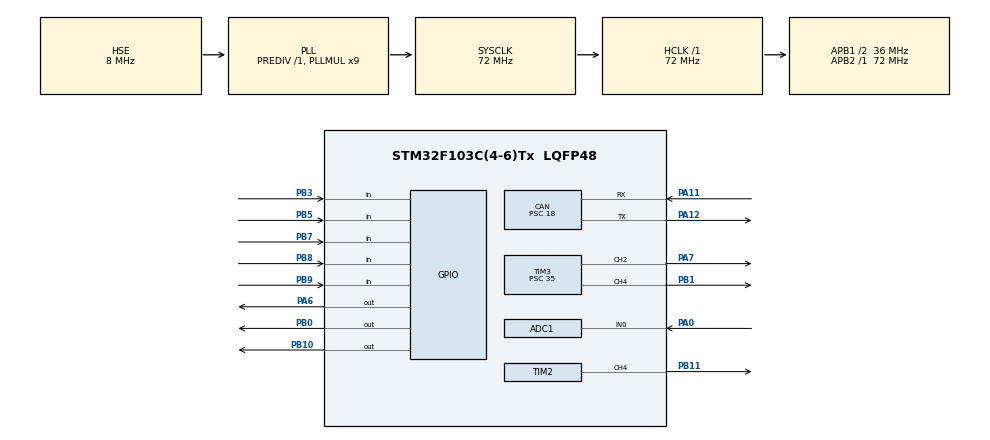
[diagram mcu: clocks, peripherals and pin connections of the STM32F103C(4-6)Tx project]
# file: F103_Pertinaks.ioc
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ADC1.Channel-1\#ChannelRegularConversion=ADC_CHANNEL_0
ADC1.ContinuousConvMode=ENABLE
ADC1.NbrOfConversionFlag=1
ADC1.Rank-1\#ChannelRegularConversion=1
ADC1.SamplingTime-1\#ChannelRegularConversion=ADC_SAMPLETIME_1CYCLE_5
ADC1.master=1
CAN.BS1=CAN_BS1_2TQ
CAN.CalculateBaudRate=500000
CAN.CalculateTimeBit=2000
CAN.CalculateTimeQuantum=500.0
CAN.Mode=CAN_MODE_LOOPBACK
CAN.Prescaler=18
Mcu.Family=STM32F1
Mcu.Name=STM32F103C(4-6)Tx
Mcu.Package=LQFP48
NVIC.PriorityGroup=NVIC_PRIORITYGROUP_4
NVIC.TIM1_UP_IRQn=true\:0\:0\:false\:false\:true\:true\:true\:true
PA0-WKUP.Signal=ADCx_IN0
PA11.Mode=CAN_Activate
PA11.Signal=CAN_RX
PA12.Mode=CAN_Activate
PA12.Signal=CAN_TX
PA13.Mode=Serial_Wire
PA13.Signal=SYS_JTMS-SWDIO
PA14.Mode=Serial_Wire
PA14.Signal=SYS_JTCK-SWCLK
PA6.Signal=GPIO_Output
PA7.Signal=S_TIM3_CH2
PB0.Signal=GPIO_Output
PB1.Signal=S_TIM3_CH4
PB10.Signal=GPIO_Output
PB11.Signal=S_TIM2_CH4
PB3.GPIO_PuPd=GPIO_PULLDOWN
PB3.Signal=GPIO_Input
PB5.GPIO_PuPd=GPIO_NOPULL
PB5.Signal=GPIO_Input
PB7.Signal=GPIO_Input
PB8.Signal=GPIO_Input
PB9.Signal=GPIO_Input
PD0-OSC_IN.Mode=HSE-External-Oscillator
PD0-OSC_IN.Signal=RCC_OSC_IN
PD1-OSC_OUT.Mode=HSE-External-Oscillator
PD1-OSC_OUT.Signal=RCC_OSC_OUT
ProjectManager.HeapSize=0x200
ProjectManager.StackSize=0x400
ProjectManager.TargetToolchain=STM32CubeIDE
RCC.ADCPresc=RCC_ADCPCLK2_DIV6
RCC.AHBFreq_Value=72000000
RCC.APB1CLKDivider=RCC_HCLK_DIV2
RCC.APB1Freq_Value=36000000
RCC.APB1TimFreq_Value=72000000
RCC.APB2Freq_Value=72000000
RCC.APB2TimFreq_Value=72000000
RCC.HCLKFreq_Value=72000000
RCC.PLLMUL=RCC_PLL_MUL9
RCC.PLLSourceVirtual=RCC_PLLSOURCE_HSE
RCC.SYSCLKFreq_VALUE=72000000
RCC.SYSCLKSource=RCC_SYSCLKSOURCE_PLLCLK
RCC.USBFreq_Value=72000000
SH.ADCx_IN0.0=ADC1_IN0,IN0
SH.S_TIM2_CH4.0=TIM2_CH4,PWM Generation4 CH4
SH.S_TIM3_CH2.0=TIM3_CH2,PWM Generation2 CH2
SH.S_TIM3_CH4.0=TIM3_CH4,PWM Generation4 CH4
TIM1.Period=7999
TIM1.Prescaler=8999
TIM1.TIM_MasterOutputTrigger=TIM_TRGO_UPDATE
TIM2.Channel-PWM\ Generation4\ CH4=TIM_CHANNEL_4
TIM2.Period=99
TIM2.Prescaler=35
TIM3.Channel-PWM\ Generation2\ CH2=TIM_CHANNEL_2
TIM3.Channel-PWM\ Generation4\ CH4=TIM_CHANNEL_4
TIM3.Period=99
TIM3.Prescaler=35
VP_TIM1_VS_ClockSourceINT.Mode=Internal
VP_TIM2_VS_ClockSourceINT.Mode=Internal
VP_TIM3_VS_ClockSourceINT.Mode=Internal
board=custom

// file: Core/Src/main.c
/* USER CODE BEGIN Header */
/**
 ******************************************************************************
 * @file           : main.c
 * @brief          : Main program body
 ******************************************************************************
 * @attention
 *
 * Copyright (c) 2022 STMicroelectronics.
 * All rights reserved.
 *
 * This software is licensed under terms that can be found in the LICENSE file
 * in the root directory of this software component.
 * If no LICENSE file comes with this software, it is provided AS-IS.
 *
 ******************************************************************************
 */
/* USER CODE END Header */
#include "main.h"

/* USER CODE BEGIN PTD */
typedef struct {

	GPIO_TypeDef *LS_Pin;

	uint16_t LSP_Number;

	TIM_HandleTypeDef HS_Tim;

	uint16_t HST_Channel;

} Mosfet_Driver_Typedef;

typedef struct {

	GPIO_TypeDef *H_Pin;

	uint16_t HP_Number;

} Hall_Sensor_Typedef;
/* USER CODE END PTD */

/* USER CODE BEGIN PD */
#define Motor_Speed  	Current_rpm
/* USER CODE END PD */

ADC_HandleTypeDef hadc1;

CAN_HandleTypeDef hcan;

TIM_HandleTypeDef htim1;
TIM_HandleTypeDef htim2;
TIM_HandleTypeDef htim3;

/* USER CODE BEGIN PV */

CAN_TxHeaderTypeDef Com_TxHeader;
CAN_RxHeaderTypeDef Com_RxHeader;

uint32_t My_TxMailbox;

uint8_t Com_TxData[2];
uint8_t Com_RxData[2];

uint8_t HA_Res = 0;
uint8_t HB_Res = 0;
uint8_t HC_Res = 0;
uint8_t HT_Res = 0;

uint16_t Motor_Speed = 0 ;
uint16_t Rott_Count = 0 ;
uint8_t  User_Speed = 0;
uint8_t  Prvs_Hal = 0;

uint8_t Is_reverse = 0;
uint8_t Is_break = 0;

/* USER CODE END PV */

void SystemClock_Config(void);
static void MX_GPIO_Init(void);
static void MX_TIM2_Init(void);
static void MX_TIM3_Init(void);
static void MX_CAN_Init(void);
static void MX_TIM1_Init(void);
static void MX_ADC1_Init(void);
/* USER CODE BEGIN PFP */

void Motor_Driver(Mosfet_Driver_Typedef MD_one, Mosfet_Driver_Typedef MD_two,
		Mosfet_Driver_Typedef MD_three, uint8_t Hall_T, uint8_t User_speed);

void HAL_CAN_RxFifo0MsgPendingCallback(CAN_HandleTypeDef *hcan);

void HAL_TIM_PeriodElapsedCallback(TIM_HandleTypeDef *htim)
{
	if (htim->Instance == htim1.Instance ){
		Motor_Speed = (int) Rott_Count*60/24;

		Rott_Count = 0;
	}
}

/* USER CODE END PFP */

int main(void)
{

  /* MCU Configuration--------------------------------------------------------*/

  /* Reset of all peripherals, Initializes the Flash interface and the Systick. */
  HAL_Init();

  /* Configure the system clock */
  SystemClock_Config();

  /* Initialize all configured peripherals */
  MX_GPIO_Init();
  MX_TIM2_Init();
  MX_TIM3_Init();
  MX_CAN_Init();
  MX_TIM1_Init();
  MX_ADC1_Init();
  /* USER CODE BEGIN 2 */

	Mosfet_Driver_Typedef MD_One;
	MD_One.LS_Pin = GPIOB;
	MD_One.LSP_Number = GPIO_PIN_10;
	MD_One.HS_Tim = htim2;
	MD_One.HST_Channel = TIM_CHANNEL_4;

	Mosfet_Driver_Typedef MD_Two;
	MD_Two.LS_Pin = GPIOB;
	MD_Two.LSP_Number = GPIO_PIN_0;
	MD_Two.HS_Tim = htim3;
	MD_Two.HST_Channel = TIM_CHANNEL_4;

	Mosfet_Driver_Typedef MD_Three;
	MD_Three.LS_Pin = GPIOA;
	MD_Three.LSP_Number = GPIO_PIN_6;
	MD_Three.HS_Tim = htim3;
	MD_Three.HST_Channel = TIM_CHANNEL_2;
	// --

	// Hall Sensor Typedef
	Hall_Sensor_Typedef Hall_A;
	Hall_A.H_Pin = GPIOB;
	Hall_A.HP_Number = GPIO_PIN_7;

	Hall_Sensor_Typedef Hall_B;
	Hall_B.H_Pin = GPIOB;
	Hall_B.HP_Number = GPIO_PIN_8;

	Hall_Sensor_Typedef Hall_C;
	Hall_C.H_Pin = GPIOB;
	Hall_C.HP_Number = GPIO_PIN_9;

	HAL_TIM_Base_Start_IT(&htim1);
	HAL_TIM_Base_Start(&htim2);
	HAL_TIM_Base_Start(&htim3);
	HAL_CAN_Start(&hcan);
	HAL_ADC_Start(&hadc1);

	// Burdakİ FIFO0 veya FIFO1 olması senin mesaj bekleme fonksiyonunda doldurduğun alanıda etkiler
	HAL_CAN_ActivateNotification(&hcan, CAN_IT_RX_FIFO0_MSG_PENDING);

	Com_TxHeader.DLC = 2;
	Com_TxHeader.IDE = CAN_ID_STD;
	Com_TxHeader.RTR = CAN_RTR_DATA;
	Com_TxHeader.StdId = 0x00011111;
	Com_TxHeader.TransmitGlobalTime = DISABLE;

  /* USER CODE END 2 */

  /* Infinite loop */
  /* USER CODE BEGIN WHILE */

	while (1){
		User_Speed = (int) HAL_ADC_GetValue(&hadc1)*100/4096;
		Is_break = HAL_GPIO_ReadPin(GPIOB, GPIO_PIN_3);
		// Is_reverse = HAL_GPIO_ReadPin(GPIOB, GPIO_PIN_3);

		/* HAL SENSÖR OKUMASI*/
		HA_Res = HAL_GPIO_ReadPin(Hall_A.H_Pin, Hall_A.HP_Number);
		HB_Res = HAL_GPIO_ReadPin(Hall_B.H_Pin, Hall_B.HP_Number);
		HC_Res = HAL_GPIO_ReadPin(Hall_C.H_Pin, Hall_C.HP_Number);

		HB_Res = HB_Res << 1;
		HC_Res = HC_Res << 2;
		HT_Res = HC_Res | HB_Res | HA_Res;

		/* MOToR HIZ SAYACI */
		if (Prvs_Hal != HT_Res) {
			if ((Prvs_Hal + HT_Res) == 10) {
				Rott_Count++ ;
			}
			Prvs_Hal = HT_Res;
		}
		/* AYARLARSA HIZ AYARLAYICI
		if (!(Control_speed == User_Speed)) {
			Control_speed = Speed_Controller(User_Speed, Current_rpm, Prvs_Rpm, Delta_Speed, Control_speed, Ignition);
		}
	`	*/

		/* SÜRERSE GENEL SÜRÜCÜ */

		if (Is_break) { // Break If
			HAL_TIM_PWM_Stop(&MD_One.HS_Tim, MD_One.HST_Channel);
			HAL_TIM_PWM_Stop(&MD_Two.HS_Tim, MD_Two.HST_Channel);
			HAL_TIM_PWM_Stop(&MD_Three.HS_Tim, MD_Three.HST_Channel);

			HAL_GPIO_WritePin(MD_One.LS_Pin, MD_One.LSP_Number, GPIO_PIN_RESET);
			HAL_GPIO_WritePin(MD_Two.LS_Pin, MD_Two.LSP_Number, GPIO_PIN_RESET);
			HAL_GPIO_WritePin(MD_Three.LS_Pin, MD_Three.LSP_Number, GPIO_PIN_RESET);

		}
		else {
			if (Is_reverse) { // Reverse If
				HT_Res = 7 - HT_Res ;
				Motor_Driver(MD_One, MD_Two, MD_Three, HT_Res, User_Speed);
			}
			else {
				Motor_Driver(MD_One, MD_Two, MD_Three, HT_Res, User_Speed);
			}
		}

		/* CAN CONMMINICATION AREA - GİRENİ S*KERLER */

		Com_TxData[0] = Motor_Speed ;
		Com_TxData[1] = User_Speed ;

		HAL_CAN_AddTxMessage(&hcan, &Com_TxHeader, Com_TxData, &My_TxMailbox);

    /* USER CODE END WHILE */

	}
}

void SystemClock_Config(void)
{
  RCC_OscInitTypeDef RCC_OscInitStruct = {0};
  RCC_ClkInitTypeDef RCC_ClkInitStruct = {0};
  RCC_PeriphCLKInitTypeDef PeriphClkInit = {0};

  /** Initializes the RCC Oscillators according to the specified parameters
  * in the RCC_OscInitTypeDef structure.
  */
  RCC_OscInitStruct.OscillatorType = RCC_OSCILLATORTYPE_HSE;
  RCC_OscInitStruct.HSEState = RCC_HSE_ON;
  RCC_OscInitStruct.HSEPredivValue = RCC_HSE_PREDIV_DIV1;
  RCC_OscInitStruct.HSIState = RCC_HSI_ON;
  RCC_OscInitStruct.PLL.PLLState = RCC_PLL_ON;
  RCC_OscInitStruct.PLL.PLLSource = RCC_PLLSOURCE_HSE;
  RCC_OscInitStruct.PLL.PLLMUL = RCC_PLL_MUL9;
  if (HAL_RCC_OscConfig(&RCC_OscInitStruct) != HAL_OK)
  {
    Error_Handler();
  }

  /** Initializes the CPU, AHB and APB buses clocks
  */
  RCC_ClkInitStruct.ClockType = RCC_CLOCKTYPE_HCLK|RCC_CLOCKTYPE_SYSCLK
                              |RCC_CLOCKTYPE_PCLK1|RCC_CLOCKTYPE_PCLK2;
  RCC_ClkInitStruct.SYSCLKSource = RCC_SYSCLKSOURCE_PLLCLK;
  RCC_ClkInitStruct.AHBCLKDivider = RCC_SYSCLK_DIV1;
  RCC_ClkInitStruct.APB1CLKDivider = RCC_HCLK_DIV2;
  RCC_ClkInitStruct.APB2CLKDivider = RCC_HCLK_DIV1;

  if (HAL_RCC_ClockConfig(&RCC_ClkInitStruct, FLASH_LATENCY_2) != HAL_OK)
  {
    Error_Handler();
  }
  PeriphClkInit.PeriphClockSelection = RCC_PERIPHCLK_ADC;
  PeriphClkInit.AdcClockSelection = RCC_ADCPCLK2_DIV6;
  if (HAL_RCCEx_PeriphCLKConfig(&PeriphClkInit) != HAL_OK)
  {
    Error_Handler();
  }
}

static void MX_ADC1_Init(void)
{

  ADC_ChannelConfTypeDef sConfig = {0};

  /** Common config
  */
  hadc1.Instance = ADC1;
  hadc1.Init.ScanConvMode = ADC_SCAN_DISABLE;
  hadc1.Init.ContinuousConvMode = ENABLE;
  hadc1.Init.DiscontinuousConvMode = DISABLE;
  hadc1.Init.ExternalTrigConv = ADC_SOFTWARE_START;
  hadc1.Init.DataAlign = ADC_DATAALIGN_RIGHT;
  hadc1.Init.NbrOfConversion = 1;
  if (HAL_ADC_Init(&hadc1) != HAL_OK)
  {
    Error_Handler();
  }

  /** Configure Regular Channel
  */
  sConfig.Channel = ADC_CHANNEL_0;
  sConfig.Rank = ADC_REGULAR_RANK_1;
  sConfig.SamplingTime = ADC_SAMPLETIME_1CYCLE_5;
  if (HAL_ADC_ConfigChannel(&hadc1, &sConfig) != HAL_OK)
  {
    Error_Handler();
  }

}

static void MX_CAN_Init(void)
{

  hcan.Instance = CAN1;
  hcan.Init.Prescaler = 18;
  hcan.Init.Mode = CAN_MODE_LOOPBACK;
  hcan.Init.SyncJumpWidth = CAN_SJW_1TQ;
  hcan.Init.TimeSeg1 = CAN_BS1_2TQ;
  hcan.Init.TimeSeg2 = CAN_BS2_1TQ;
  hcan.Init.TimeTriggeredMode = DISABLE;
  hcan.Init.AutoBusOff = DISABLE;
  hcan.Init.AutoWakeUp = DISABLE;
  hcan.Init.AutoRetransmission = DISABLE;
  hcan.Init.ReceiveFifoLocked = DISABLE;
  hcan.Init.TransmitFifoPriority = DISABLE;
  if (HAL_CAN_Init(&hcan) != HAL_OK)
  {
    Error_Handler();
  }

}

static void MX_TIM1_Init(void)
{

  TIM_ClockConfigTypeDef sClockSourceConfig = {0};
  TIM_MasterConfigTypeDef sMasterConfig = {0};

  htim1.Instance = TIM1;
  htim1.Init.Prescaler = 8999;
  htim1.Init.CounterMode = TIM_COUNTERMODE_UP;
  htim1.Init.Period = 7999;
  htim1.Init.ClockDivision = TIM_CLOCKDIVISION_DIV1;
  htim1.Init.RepetitionCounter = 0;
  htim1.Init.AutoReloadPreload = TIM_AUTORELOAD_PRELOAD_DISABLE;
  if (HAL_TIM_Base_Init(&htim1) != HAL_OK)
  {
    Error_Handler();
  }
  sClockSourceConfig.ClockSource = TIM_CLOCKSOURCE_INTERNAL;
  if (HAL_TIM_ConfigClockSource(&htim1, &sClockSourceConfig) != HAL_OK)
  {
    Error_Handler();
  }
  sMasterConfig.MasterOutputTrigger = TIM_TRGO_UPDATE;
  sMasterConfig.MasterSlaveMode = TIM_MASTERSLAVEMODE_DISABLE;
  if (HAL_TIMEx_MasterConfigSynchronization(&htim1, &sMasterConfig) != HAL_OK)
  {
    Error_Handler();
  }

}

static void MX_TIM2_Init(void)
{

  TIM_ClockConfigTypeDef sClockSourceConfig = {0};
  TIM_MasterConfigTypeDef sMasterConfig = {0};
  TIM_OC_InitTypeDef sConfigOC = {0};

  htim2.Instance = TIM2;
  htim2.Init.Prescaler = 35;
  htim2.Init.CounterMode = TIM_COUNTERMODE_UP;
  htim2.Init.Period = 99;
  htim2.Init.ClockDivision = TIM_CLOCKDIVISION_DIV1;
  htim2.Init.AutoReloadPreload = TIM_AUTORELOAD_PRELOAD_DISABLE;
  if (HAL_TIM_Base_Init(&htim2) != HAL_OK)
  {
    Error_Handler();
  }
  sClockSourceConfig.ClockSource = TIM_CLOCKSOURCE_INTERNAL;
  if (HAL_TIM_ConfigClockSource(&htim2, &sClockSourceConfig) != HAL_OK)
  {
    Error_Handler();
  }
  if (HAL_TIM_PWM_Init(&htim2) != HAL_OK)
  {
    Error_Handler();
  }
  sMasterConfig.MasterOutputTrigger = TIM_TRGO_RESET;
  sMasterConfig.MasterSlaveMode = TIM_MASTERSLAVEMODE_DISABLE;
  if (HAL_TIMEx_MasterConfigSynchronization(&htim2, &sMasterConfig) != HAL_OK)
  {
    Error_Handler();
  }
  sConfigOC.OCMode = TIM_OCMODE_PWM1;
  sConfigOC.Pulse = 0;
  sConfigOC.OCPolarity = TIM_OCPOLARITY_HIGH;
  sConfigOC.OCFastMode = TIM_OCFAST_DISABLE;
  if (HAL_TIM_PWM_ConfigChannel(&htim2, &sConfigOC, TIM_CHANNEL_4) != HAL_OK)
  {
    Error_Handler();
  }
  HAL_TIM_MspPostInit(&htim2);

}

static void MX_TIM3_Init(void)
{

  TIM_ClockConfigTypeDef sClockSourceConfig = {0};
  TIM_MasterConfigTypeDef sMasterConfig = {0};
  TIM_OC_InitTypeDef sConfigOC = {0};

  htim3.Instance = TIM3;
  htim3.Init.Prescaler = 35;
  htim3.Init.CounterMode = TIM_COUNTERMODE_UP;
  htim3.Init.Period = 99;
  htim3.Init.ClockDivision = TIM_CLOCKDIVISION_DIV1;
  htim3.Init.AutoReloadPreload = TIM_AUTORELOAD_PRELOAD_DISABLE;
  if (HAL_TIM_Base_Init(&htim3) != HAL_OK)
  {
    Error_Handler();
  }
  sClockSourceConfig.ClockSource = TIM_CLOCKSOURCE_INTERNAL;
  if (HAL_TIM_ConfigClockSource(&htim3, &sClockSourceConfig) != HAL_OK)
  {
    Error_Handler();
  }
  if (HAL_TIM_PWM_Init(&htim3) != HAL_OK)
  {
    Error_Handler();
  }
  sMasterConfig.MasterOutputTrigger = TIM_TRGO_RESET;
  sMasterConfig.MasterSlaveMode = TIM_MASTERSLAVEMODE_DISABLE;
  if (HAL_TIMEx_MasterConfigSynchronization(&htim3, &sMasterConfig) != HAL_OK)
  {
    Error_Handler();
  }
  sConfigOC.OCMode = TIM_OCMODE_PWM1;
  sConfigOC.Pulse = 0;
  sConfigOC.OCPolarity = TIM_OCPOLARITY_HIGH;
  sConfigOC.OCFastMode = TIM_OCFAST_DISABLE;
  if (HAL_TIM_PWM_ConfigChannel(&htim3, &sConfigOC, TIM_CHANNEL_2) != HAL_OK)
  {
    Error_Handler();
  }
  if (HAL_TIM_PWM_ConfigChannel(&htim3, &sConfigOC, TIM_CHANNEL_4) != HAL_OK)
  {
    Error_Handler();
  }
  HAL_TIM_MspPostInit(&htim3);

}

static void MX_GPIO_Init(void)
{
  GPIO_InitTypeDef GPIO_InitStruct = {0};

  /* GPIO Ports Clock Enable */
  __HAL_RCC_GPIOD_CLK_ENABLE();
  __HAL_RCC_GPIOA_CLK_ENABLE();
  __HAL_RCC_GPIOB_CLK_ENABLE();

  /*Configure GPIO pin Output Level */
  HAL_GPIO_WritePin(GPIOA, GPIO_PIN_6, GPIO_PIN_RESET);

  /*Configure GPIO pin Output Level */
  HAL_GPIO_WritePin(GPIOB, GPIO_PIN_0|GPIO_PIN_10, GPIO_PIN_RESET);

  /*Configure GPIO pin : PA6 */
  GPIO_InitStruct.Pin = GPIO_PIN_6;
  GPIO_InitStruct.Mode = GPIO_MODE_OUTPUT_PP;
  GPIO_InitStruct.Pull = GPIO_NOPULL;
  GPIO_InitStruct.Speed = GPIO_SPEED_FREQ_LOW;
  HAL_GPIO_Init(GPIOA, &GPIO_InitStruct);

  /*Configure GPIO pins : PB0 PB10 */
  GPIO_InitStruct.Pin = GPIO_PIN_0|GPIO_PIN_10;
  GPIO_InitStruct.Mode = GPIO_MODE_OUTPUT_PP;
  GPIO_InitStruct.Pull = GPIO_NOPULL;
  GPIO_InitStruct.Speed = GPIO_SPEED_FREQ_LOW;
  HAL_GPIO_Init(GPIOB, &GPIO_InitStruct);

  /*Configure GPIO pin : PB3 */
  GPIO_InitStruct.Pin = GPIO_PIN_3;
  GPIO_InitStruct.Mode = GPIO_MODE_INPUT;
  GPIO_InitStruct.Pull = GPIO_PULLDOWN;
  HAL_GPIO_Init(GPIOB, &GPIO_InitStruct);

  /*Configure GPIO pins : PB5 PB7 PB8 PB9 */
  GPIO_InitStruct.Pin = GPIO_PIN_5|GPIO_PIN_7|GPIO_PIN_8|GPIO_PIN_9;
  GPIO_InitStruct.Mode = GPIO_MODE_INPUT;
  GPIO_InitStruct.Pull = GPIO_NOPULL;
  HAL_GPIO_Init(GPIOB, &GPIO_InitStruct);

}

/* USER CODE BEGIN 4 */
void Motor_Driver(Mosfet_Driver_Typedef MD_one, Mosfet_Driver_Typedef MD_two,
		Mosfet_Driver_Typedef MD_three, uint8_t Hall_T, uint8_t User_Speed) {
	switch (Hall_T) {

	case 1:
		// 2 > 1
		HAL_GPIO_WritePin(MD_two.LS_Pin, MD_two.LSP_Number, GPIO_PIN_SET);
		HAL_GPIO_WritePin(MD_three.LS_Pin, MD_three.LSP_Number, GPIO_PIN_SET);
		HAL_TIM_PWM_Stop(&MD_three.HS_Tim, MD_three.HST_Channel);
		HAL_TIM_PWM_Stop(&MD_one.HS_Tim, MD_one.HST_Channel);

		HAL_GPIO_WritePin(MD_one.LS_Pin, MD_one.LSP_Number, GPIO_PIN_RESET);
		HAL_TIM_PWM_Start(&MD_two.HS_Tim, MD_two.HST_Channel);
		__HAL_TIM_SET_COMPARE(&MD_two.HS_Tim, MD_two.HST_Channel, User_Speed);

		break;
	case 2:
		// 3 > 2
		HAL_GPIO_WritePin(MD_three.LS_Pin, MD_three.LSP_Number, GPIO_PIN_SET);
		HAL_GPIO_WritePin(MD_one.LS_Pin, MD_one.LSP_Number, GPIO_PIN_SET);
		HAL_TIM_PWM_Stop(&MD_one.HS_Tim, MD_one.HST_Channel);
		HAL_TIM_PWM_Stop(&MD_two.HS_Tim, MD_two.HST_Channel);

		HAL_GPIO_WritePin(MD_two.LS_Pin, MD_two.LSP_Number, GPIO_PIN_RESET);
		HAL_TIM_PWM_Start(&MD_three.HS_Tim, MD_three.HST_Channel);
		__HAL_TIM_SET_COMPARE(&MD_three.HS_Tim, MD_three.HST_Channel, User_Speed);

		break;
	case 3:
		// 3 > 1
		HAL_GPIO_WritePin(MD_three.LS_Pin, MD_three.LSP_Number, GPIO_PIN_SET);
		HAL_GPIO_WritePin(MD_two.LS_Pin, MD_two.LSP_Number, GPIO_PIN_SET);
		HAL_TIM_PWM_Stop(&MD_two.HS_Tim, MD_two.HST_Channel);
		HAL_TIM_PWM_Stop(&MD_one.HS_Tim, MD_one.HST_Channel);

		HAL_GPIO_WritePin(MD_one.LS_Pin, MD_one.LSP_Number, GPIO_PIN_RESET);
		HAL_TIM_PWM_Start(&MD_three.HS_Tim, MD_three.HST_Channel);
		__HAL_TIM_SET_COMPARE(&MD_three.HS_Tim, MD_three.HST_Channel, User_Speed);
		/* =====================================
		HAL_TIM_PWM_Start(&MD_two.HS_Tim, MD_two.HST_Channel);
		__HAL_TIM_SET_COMPARE(&MD_two.HS_Tim, MD_two.HST_Channel, (int) User_Speed/2);
		*/

		break;
	case 4:
		// 1 > 3
		HAL_GPIO_WritePin(MD_one.LS_Pin, MD_one.LSP_Number, GPIO_PIN_SET);
		HAL_GPIO_WritePin(MD_two.LS_Pin, MD_two.LSP_Number, GPIO_PIN_SET);
		HAL_TIM_PWM_Stop(&MD_two.HS_Tim, MD_two.HST_Channel);
		HAL_TIM_PWM_Stop(&MD_three.HS_Tim, MD_three.HST_Channel);

		HAL_GPIO_WritePin(MD_three.LS_Pin, MD_three.LSP_Number, GPIO_PIN_RESET);
		HAL_TIM_PWM_Start(&MD_one.HS_Tim, MD_one.HST_Channel);
		__HAL_TIM_SET_COMPARE(&MD_one.HS_Tim, MD_one.HST_Channel, User_Speed);

		break;
	case 5:
		// 2 > 3
		HAL_GPIO_WritePin(MD_two.LS_Pin, MD_two.LSP_Number, GPIO_PIN_SET);
		HAL_GPIO_WritePin(MD_one.LS_Pin, MD_one.LSP_Number, GPIO_PIN_SET);
		HAL_TIM_PWM_Stop(&MD_one.HS_Tim, MD_one.HST_Channel);
		HAL_TIM_PWM_Stop(&MD_three.HS_Tim, MD_three.HST_Channel);

		HAL_GPIO_WritePin(MD_three.LS_Pin, MD_three.LSP_Number, GPIO_PIN_RESET);
		HAL_TIM_PWM_Start(&MD_two.HS_Tim, MD_two.HST_Channel);
		__HAL_TIM_SET_COMPARE(&MD_two.HS_Tim, MD_two.HST_Channel, User_Speed);
		/* =====================================
		HAL_TIM_PWM_Start(&MD_one.HS_Tim, MD_one.HST_Channel);
		__HAL_TIM_SET_COMPARE(&MD_one.HS_Tim, MD_one.HST_Channel, (int) User_Speed/2);
		*/

		break;
	case 6:
		// 1 > 2
		HAL_GPIO_WritePin(MD_one.LS_Pin, MD_one.LSP_Number, GPIO_PIN_SET);
		HAL_GPIO_WritePin(MD_three.LS_Pin, MD_three.LSP_Number, GPIO_PIN_SET);
		HAL_TIM_PWM_Stop(&MD_three.HS_Tim, MD_three.HST_Channel);
		HAL_TIM_PWM_Stop(&MD_two.HS_Tim, MD_two.HST_Channel);

		HAL_GPIO_WritePin(MD_two.LS_Pin, MD_two.LSP_Number, GPIO_PIN_RESET);
		HAL_TIM_PWM_Start(&MD_one.HS_Tim, MD_one.HST_Channel);
		__HAL_TIM_SET_COMPARE(&MD_one.HS_Tim, MD_one.HST_Channel, User_Speed);
		/* =====================================
		HAL_TIM_PWM_Start(&MD_three.HS_Tim, MD_three.HST_Channel);
		__HAL_TIM_SET_COMPARE(&MD_three.HS_Tim, MD_three.HST_Channel, (int) User_Speed/2);
		*/

		break;
	}

}

void HAL_CAN_RxFifo0MsgPendingCallback(CAN_HandleTypeDef *hcan){

	HAL_CAN_GetRxMessage(hcan, My_TxMailbox, &Com_RxHeader, Com_RxData);

	/* Bu alan senin gelen mesaju götüne sokup sokmayacağına değerlendirdiğin alandır.
	 * Teknik olarak ne yapıp yapmayacağını bilmek sana kalmış ama benim nacizane fikrim vazalin sürmen
	 *
	 */

}

/* USER CODE END 4 */

void Error_Handler(void)
{
	__disable_irq();
	while (1) {
	}
}
